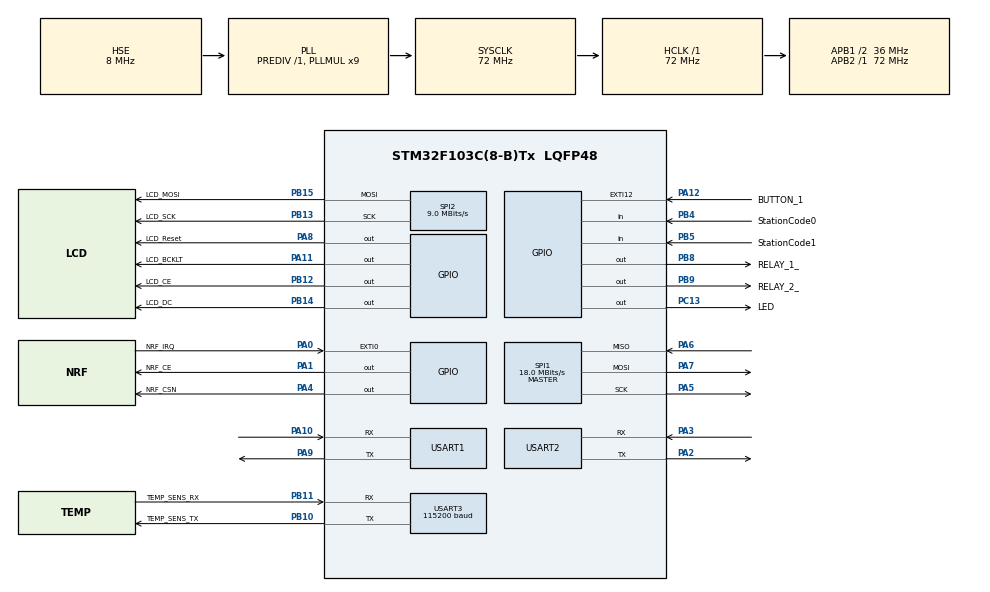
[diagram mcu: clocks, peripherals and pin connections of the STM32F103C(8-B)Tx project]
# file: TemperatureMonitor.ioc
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Dma.Request0=USART1_TX
Dma.Request1=USART2_TX
Dma.Request2=SPI2_TX
Dma.SPI2_TX.2.Direction=DMA_MEMORY_TO_PERIPH
Dma.SPI2_TX.2.Instance=DMA1_Channel5
Dma.SPI2_TX.2.MemDataAlignment=DMA_MDATAALIGN_BYTE
Dma.SPI2_TX.2.MemInc=DMA_MINC_ENABLE
Dma.SPI2_TX.2.Mode=DMA_NORMAL
Dma.SPI2_TX.2.PeriphDataAlignment=DMA_PDATAALIGN_BYTE
Dma.SPI2_TX.2.PeriphInc=DMA_PINC_DISABLE
Dma.SPI2_TX.2.Priority=DMA_PRIORITY_LOW
Dma.USART1_TX.0.Direction=DMA_MEMORY_TO_PERIPH
Dma.USART1_TX.0.Instance=DMA1_Channel4
Dma.USART1_TX.0.MemDataAlignment=DMA_MDATAALIGN_BYTE
Dma.USART1_TX.0.MemInc=DMA_MINC_ENABLE
Dma.USART1_TX.0.Mode=DMA_NORMAL
Dma.USART1_TX.0.PeriphDataAlignment=DMA_PDATAALIGN_BYTE
Dma.USART1_TX.0.PeriphInc=DMA_PINC_DISABLE
Dma.USART1_TX.0.Priority=DMA_PRIORITY_LOW
Dma.USART2_TX.1.Direction=DMA_MEMORY_TO_PERIPH
Dma.USART2_TX.1.Instance=DMA1_Channel7
Dma.USART2_TX.1.MemDataAlignment=DMA_MDATAALIGN_BYTE
Dma.USART2_TX.1.MemInc=DMA_MINC_ENABLE
Dma.USART2_TX.1.Mode=DMA_NORMAL
Dma.USART2_TX.1.PeriphDataAlignment=DMA_PDATAALIGN_BYTE
Dma.USART2_TX.1.PeriphInc=DMA_PINC_DISABLE
Dma.USART2_TX.1.Priority=DMA_PRIORITY_LOW
Mcu.Family=STM32F1
Mcu.Name=STM32F103C(8-B)Tx
Mcu.Package=LQFP48
NVIC.DMA1_Channel4_IRQn=true\:5\:0\:false\:false\:true\:true\:false
NVIC.DMA1_Channel5_IRQn=true\:5\:0\:false\:false\:true\:true\:false
NVIC.DMA1_Channel7_IRQn=true\:5\:0\:false\:false\:true\:true\:false
NVIC.EXTI0_IRQn=true\:5\:0\:false\:false\:true\:true\:true
NVIC.EXTI15_10_IRQn=true\:5\:0\:false\:false\:true\:true\:true
NVIC.PriorityGroup=NVIC_PRIORITYGROUP_4
NVIC.TIM1_UP_IRQn=true\:0\:0\:false\:false\:true\:false\:false
NVIC.TimeBase=TIM1_UP_IRQn
NVIC.TimeBaseIP=TIM1
NVIC.USART1_IRQn=true\:5\:0\:false\:false\:true\:true\:true
NVIC.USART2_IRQn=true\:5\:0\:false\:false\:true\:true\:true
PA0-WKUP.GPIO_Label=NRF_IRQ
PA0-WKUP.GPIO_ModeDefaultEXTI=GPIO_MODE_IT_FALLING
PA0-WKUP.GPIO_PuPd=GPIO_NOPULL
PA0-WKUP.Signal=GPXTI0
PA1.GPIO_Label=NRF_CE
PA1.Signal=GPIO_Output
PA10.Mode=Asynchronous
PA10.Signal=USART1_RX
PA11.GPIO_Label=LCD_BCKLT
PA11.Signal=GPIO_Output
PA12.GPIO_Label=BUTTON_1
PA12.GPIO_ModeDefaultEXTI=GPIO_MODE_IT_RISING
PA12.GPIO_PuPd=GPIO_PULLUP
PA12.Signal=GPXTI12
PA13.Mode=Serial_Wire
PA13.Signal=SYS_JTMS-SWDIO
PA14.Mode=Serial_Wire
PA14.Signal=SYS_JTCK-SWCLK
PA2.Mode=Asynchronous
PA2.Signal=USART2_TX
PA3.Mode=Asynchronous
PA3.Signal=USART2_RX
PA4.GPIO_Label=NRF_CSN
PA4.Signal=GPIO_Output
PA5.Mode=Full_Duplex_Master
PA5.Signal=SPI1_SCK
PA6.Mode=Full_Duplex_Master
PA6.Signal=SPI1_MISO
PA7.Mode=Full_Duplex_Master
PA7.Signal=SPI1_MOSI
PA8.GPIO_Label=LCD_Reset
PA8.Signal=GPIO_Output
PA9.Mode=Asynchronous
PA9.Signal=USART1_TX
PB10.GPIO_Label=TEMP_SENS_TX
PB10.Mode=Asynchronous
PB10.Signal=USART3_TX
PB11.GPIO_Label=TEMP_SENS_RX
PB11.Mode=Asynchronous
PB11.Signal=USART3_RX
PB12.GPIO_Label=LCD_CE
PB12.Signal=GPIO_Output
PB13.GPIO_Label=LCD_SCK
PB13.Mode=TX_Only_Simplex_Unidirect_Master
PB13.Signal=SPI2_SCK
PB14.GPIO_Label=LCD_DC
PB14.Signal=GPIO_Output
PB15.GPIO_Label=LCD_MOSI
PB15.Mode=TX_Only_Simplex_Unidirect_Master
PB15.Signal=SPI2_MOSI
PB4.GPIO_Label=StationCode0
PB4.GPIO_PuPd=GPIO_PULLUP
PB4.Signal=GPIO_Input
PB5.GPIO_Label=StationCode1
PB5.GPIO_PuPd=GPIO_PULLUP
PB5.Signal=GPIO_Input
PB8.GPIO_Label=RELAY_1_
PB8.Signal=GPIO_Output
PB9.GPIO_Label=RELAY_2_
PB9.Signal=GPIO_Output
PC13-TAMPER-RTC.GPIO_Label=LED
PC13-TAMPER-RTC.Signal=GPIO_Output
PC14-OSC32_IN.Mode=LSE-External-Oscillator
PC14-OSC32_IN.Signal=RCC_OSC32_IN
PC15-OSC32_OUT.Mode=LSE-External-Oscillator
PC15-OSC32_OUT.Signal=RCC_OSC32_OUT
PD0-OSC_IN.Mode=HSE-External-Oscillator
PD0-OSC_IN.Signal=RCC_OSC_IN
PD1-OSC_OUT.Mode=HSE-External-Oscillator
PD1-OSC_OUT.Signal=RCC_OSC_OUT
ProjectManager.HeapSize=0x200
ProjectManager.StackSize=0x400
ProjectManager.TargetToolchain=SW4STM32
RCC.AHBFreq_Value=72000000
RCC.APB1CLKDivider=RCC_HCLK_DIV2
RCC.APB1Freq_Value=36000000
RCC.APB1TimFreq_Value=72000000
RCC.APB2Freq_Value=72000000
RCC.APB2TimFreq_Value=72000000
RCC.HCLKFreq_Value=72000000
RCC.PLLMUL=RCC_PLL_MUL9
RCC.PLLSourceVirtual=RCC_PLLSOURCE_HSE
RCC.SYSCLKFreq_VALUE=72000000
RCC.SYSCLKSource=RCC_SYSCLKSOURCE_PLLCLK
RCC.USBFreq_Value=72000000
SPI1.BaudRatePrescaler=SPI_BAUDRATEPRESCALER_4
SPI1.CalculateBaudRate=18.0 MBits/s
SPI1.Direction=SPI_DIRECTION_2LINES
SPI1.Mode=SPI_MODE_MASTER
SPI1.VirtualType=VM_MASTER
SPI2.BaudRatePrescaler=SPI_BAUDRATEPRESCALER_4
SPI2.CalculateBaudRate=9.0 MBits/s
SPI2.Direction=SPI_DIRECTION_2LINES
SPI2.Mode=SPI_MODE_MASTER
SPI2.VirtualType=VM_MASTER
USART1.Parity=PARITY_NONE
USART1.VirtualMode=VM_ASYNC
USART2.VirtualMode=VM_ASYNC
USART3.BaudRate=115200
USART3.VirtualMode=VM_ASYNC
VP_SYS_VS_tim1.Mode=TIM1
board=custom

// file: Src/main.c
/**
  ******************************************************************************
  * @file           : main.c
  * @brief          : Main program body
  ******************************************************************************
  * This notice applies to any and all portions of this file
  * that are not between comment pairs USER CODE BEGIN and
  * USER CODE END. Other portions of this file, whether
  * inserted by the user or by software development tools
  * are owned by their respective copyright owners.
  *
  * Copyright (c) 2019 STMicroelectronics International N.V.
  * All rights reserved.
  *
  * Redistribution and use in source and binary forms, with or without
  * modification, are permitted, provided that the following conditions are met:
  *
  * 1. Redistribution of source code must retain the above copyright notice,
  *    this list of conditions and the following disclaimer.
  * 2. Redistributions in binary form must reproduce the above copyright notice,
  *    this list of conditions and the following disclaimer in the documentation
  *    and/or other materials provided with the distribution.
  * 3. Neither the name of STMicroelectronics nor the names of other
  *    contributors to this software may be used to endorse or promote products
  *    derived from this software without specific written permission.
  * 4. This software, including modifications and/or derivative works of this
  *    software, must execute solely and exclusively on microcontroller or
  *    microprocessor devices manufactured by or for STMicroelectronics.
  * 5. Redistribution and use of this software other than as permitted under
  *    this license is void and will automatically terminate your rights under
  *    this license.
  *
  * THIS SOFTWARE IS PROVIDED BY STMICROELECTRONICS AND CONTRIBUTORS "AS IS"
  * AND ANY EXPRESS, IMPLIED OR STATUTORY WARRANTIES, INCLUDING, BUT NOT
  * LIMITED TO, THE IMPLIED WARRANTIES OF MERCHANTABILITY, FITNESS FOR A
  * PARTICULAR PURPOSE AND NON-INFRINGEMENT OF THIRD PARTY INTELLECTUAL PROPERTY
  * RIGHTS ARE DISCLAIMED TO THE FULLEST EXTENT PERMITTED BY LAW. IN NO EVENT
  * SHALL STMICROELECTRONICS OR CONTRIBUTORS BE LIABLE FOR ANY DIRECT, INDIRECT,
  * INCIDENTAL, SPECIAL, EXEMPLARY, OR CONSEQUENTIAL DAMAGES (INCLUDING, BUT NOT
  * LIMITED TO, PROCUREMENT OF SUBSTITUTE GOODS OR SERVICES; LOSS OF USE, DATA,
  * OR PROFITS; OR BUSINESS INTERRUPTION) HOWEVER CAUSED AND ON ANY THEORY OF
  * LIABILITY, WHETHER IN CONTRACT, STRICT LIABILITY, OR TORT (INCLUDING
  * NEGLIGENCE OR OTHERWISE) ARISING IN ANY WAY OUT OF THE USE OF THIS SOFTWARE,
  * EVEN IF ADVISED OF THE POSSIBILITY OF SUCH DAMAGE.
  *
  ******************************************************************************
  */
#include "main.h"
#include "stm32f1xx_hal.h"
#include "cmsis_os.h"

/* USER CODE BEGIN Includes */

#include "../Framework/Instances/Common.h"
#include "../Framework/System/uart_printf.h"
#include "../Framework/Tasks/MasterSerialTask.h"
#include "../Application/RadioLink/nRF24L01_Basis.h"

/* USER CODE END Includes */

SPI_HandleTypeDef hspi1;
SPI_HandleTypeDef hspi2;
DMA_HandleTypeDef hdma_spi2_tx;

UART_HandleTypeDef huart1;
UART_HandleTypeDef huart2;
UART_HandleTypeDef huart3;
DMA_HandleTypeDef hdma_usart1_tx;
DMA_HandleTypeDef hdma_usart2_tx;

osThreadId measureTskHandle;
uint32_t measureTskBuffer[ 128 ];
osStaticThreadDef_t measureTskControlBlock;
osThreadId nRF24TskHandle;
uint32_t nRF24TskBuffer[ 128 ];
osStaticThreadDef_t nRF24TskControlBlock;
osThreadId displayTaskHandle;
uint32_t displayTaskBuffer[ 128 ];
osStaticThreadDef_t displayTaskControlBlock;

/* USER CODE BEGIN PV */
/* Private variables ---------------------------------------------------------*/

osThreadId masterSerialTaskHandle;

/* USER CODE END PV */

void SystemClock_Config(void);
static void MX_GPIO_Init(void);
static void MX_DMA_Init(void);
static void MX_USART1_UART_Init(void);
static void MX_SPI1_Init(void);
static void MX_SPI2_Init(void);
static void MX_USART3_UART_Init(void);
static void MX_USART2_UART_Init(void);
void startMeasureTsk(void const * argument);
extern void StartnRF24Tsk(void const * argument);
extern void StartDisplayTask(void const * argument);

/* USER CODE BEGIN PFP */
/* Private function prototypes -----------------------------------------------*/

osThreadId* 		get_MeasureTask(void)		{ return &measureTskHandle;  }
osThreadId* 		get_nRF24Task(void)			{ return &nRF24TskHandle;	 }
osThreadId* 		get_DisplayTask(void)		{ return &displayTaskHandle; }
SPI_HandleTypeDef*  get_nRF24_SPI(void)			{ return &hspi1; 			 }
SPI_HandleTypeDef*  get_LCD_SPI(void)			{ return &hspi2;			 }
UART_HandleTypeDef* get_huart1(void)			{ return &huart1; 			 }
UART_HandleTypeDef* get_huart2(void)			{ return &huart2; 			 }
UART_HandleTypeDef* get_huart3(void)			{ return &huart3; 			 }
//DMA_HandleTypeDef*  get_hdma_usart3_rx(void)	{ return &hdma_usart3_rx;	 }

extern void StartMasterSerialTask(void const * argument);

/* USER CODE END PFP */

int main(void)
{

  /* MCU Configuration----------------------------------------------------------*/

  /* Reset of all peripherals, Initializes the Flash interface and the Systick. */
  HAL_Init();

  /* Configure the system clock */
  SystemClock_Config();

  /* Initialize all configured peripherals */
  MX_GPIO_Init();
  MX_DMA_Init();
  MX_USART1_UART_Init();
  MX_SPI1_Init();
  MX_SPI2_Init();
  MX_USART3_UART_Init();
  MX_USART2_UART_Init();

  /* Create the thread(s) */
  /* definition and creation of measureTsk */
  osThreadStaticDef(measureTsk, startMeasureTsk, osPriorityAboveNormal, 0, 128, measureTskBuffer, &measureTskControlBlock);
  measureTskHandle = osThreadCreate(osThread(measureTsk), NULL);

  /* definition and creation of nRF24Tsk */
  osThreadStaticDef(nRF24Tsk, StartnRF24Tsk, osPriorityNormal, 0, 128, nRF24TskBuffer, &nRF24TskControlBlock);
  nRF24TskHandle = osThreadCreate(osThread(nRF24Tsk), NULL);

  /* definition and creation of displayTask */
  osThreadStaticDef(displayTask, StartDisplayTask, osPriorityLow, 0, 128, displayTaskBuffer, &displayTaskControlBlock);
  displayTaskHandle = osThreadCreate(osThread(displayTask), NULL);

  /* USER CODE BEGIN RTOS_THREADS */
  /* add threads, ... */

  //osThreadId masterSerialTasHandle;

  /* USER CODE END RTOS_THREADS */

  /* USER CODE BEGIN RTOS_QUEUES */
  /* add queues, ... */

  common_init();
  HAL_GPIO_WritePin(RELAY_1__GPIO_Port, RELAY_1__Pin, GPIO_PIN_SET);
  HAL_GPIO_WritePin(RELAY_2__GPIO_Port, RELAY_2__Pin, GPIO_PIN_SET);

  // definition and creation of masterSerialTask, sends data to linux-host
  if (stationType_isMaster())
  {
	  osThreadDef(masterSerialTask, StartMasterSerialTask, osPriorityLow, 0, 128);
	  masterSerialTaskHandle = osThreadCreate(osThread(masterSerialTask), NULL);
  }

  /* USER CODE END RTOS_QUEUES */

  /* Start scheduler */
  osKernelStart();

  /* We should never get here as control is now taken by the scheduler */

  /* Infinite loop */
  /* USER CODE BEGIN WHILE */
  while (1)
  {
	  //HAL_GPIO_TogglePin(LED_GPIO_Port, LED_Pin);
	  //HAL_Delay(100);
	 // lw_main();

  /* USER CODE END WHILE */

  }

}

void SystemClock_Config(void)
{

  RCC_OscInitTypeDef RCC_OscInitStruct;
  RCC_ClkInitTypeDef RCC_ClkInitStruct;

    /**Initializes the CPU, AHB and APB busses clocks
    */
  RCC_OscInitStruct.OscillatorType = RCC_OSCILLATORTYPE_HSE;
  RCC_OscInitStruct.HSEState = RCC_HSE_ON;
  RCC_OscInitStruct.HSEPredivValue = RCC_HSE_PREDIV_DIV1;
  RCC_OscInitStruct.HSIState = RCC_HSI_ON;
  RCC_OscInitStruct.PLL.PLLState = RCC_PLL_ON;
  RCC_OscInitStruct.PLL.PLLSource = RCC_PLLSOURCE_HSE;
  RCC_OscInitStruct.PLL.PLLMUL = RCC_PLL_MUL9;
  if (HAL_RCC_OscConfig(&RCC_OscInitStruct) != HAL_OK)
  {
    _Error_Handler(__FILE__, __LINE__);
  }

    /**Initializes the CPU, AHB and APB busses clocks
    */
  RCC_ClkInitStruct.ClockType = RCC_CLOCKTYPE_HCLK|RCC_CLOCKTYPE_SYSCLK
                              |RCC_CLOCKTYPE_PCLK1|RCC_CLOCKTYPE_PCLK2;
  RCC_ClkInitStruct.SYSCLKSource = RCC_SYSCLKSOURCE_PLLCLK;
  RCC_ClkInitStruct.AHBCLKDivider = RCC_SYSCLK_DIV1;
  RCC_ClkInitStruct.APB1CLKDivider = RCC_HCLK_DIV2;
  RCC_ClkInitStruct.APB2CLKDivider = RCC_HCLK_DIV1;

  if (HAL_RCC_ClockConfig(&RCC_ClkInitStruct, FLASH_LATENCY_2) != HAL_OK)
  {
    _Error_Handler(__FILE__, __LINE__);
  }

    /**Configure the Systick interrupt time
    */
  HAL_SYSTICK_Config(HAL_RCC_GetHCLKFreq()/1000);

    /**Configure the Systick
    */
  HAL_SYSTICK_CLKSourceConfig(SYSTICK_CLKSOURCE_HCLK);

  /* SysTick_IRQn interrupt configuration */
  HAL_NVIC_SetPriority(SysTick_IRQn, 15, 0);
}

/* SPI1 init function */
static void MX_SPI1_Init(void)
{

  /* SPI1 parameter configuration*/
  hspi1.Instance = SPI1;
  hspi1.Init.Mode = SPI_MODE_MASTER;
  hspi1.Init.Direction = SPI_DIRECTION_2LINES;
  hspi1.Init.DataSize = SPI_DATASIZE_8BIT;
  hspi1.Init.CLKPolarity = SPI_POLARITY_LOW;
  hspi1.Init.CLKPhase = SPI_PHASE_1EDGE;
  hspi1.Init.NSS = SPI_NSS_SOFT;
  hspi1.Init.BaudRatePrescaler = SPI_BAUDRATEPRESCALER_4;
  hspi1.Init.FirstBit = SPI_FIRSTBIT_MSB;
  hspi1.Init.TIMode = SPI_TIMODE_DISABLE;
  hspi1.Init.CRCCalculation = SPI_CRCCALCULATION_DISABLE;
  hspi1.Init.CRCPolynomial = 10;
  if (HAL_SPI_Init(&hspi1) != HAL_OK)
  {
    _Error_Handler(__FILE__, __LINE__);
  }

}

/* SPI2 init function */
static void MX_SPI2_Init(void)
{

  /* SPI2 parameter configuration*/
  hspi2.Instance = SPI2;
  hspi2.Init.Mode = SPI_MODE_MASTER;
  hspi2.Init.Direction = SPI_DIRECTION_2LINES;
  hspi2.Init.DataSize = SPI_DATASIZE_8BIT;
  hspi2.Init.CLKPolarity = SPI_POLARITY_LOW;
  hspi2.Init.CLKPhase = SPI_PHASE_1EDGE;
  hspi2.Init.NSS = SPI_NSS_SOFT;
  hspi2.Init.BaudRatePrescaler = SPI_BAUDRATEPRESCALER_4;
  hspi2.Init.FirstBit = SPI_FIRSTBIT_MSB;
  hspi2.Init.TIMode = SPI_TIMODE_DISABLE;
  hspi2.Init.CRCCalculation = SPI_CRCCALCULATION_DISABLE;
  hspi2.Init.CRCPolynomial = 10;
  if (HAL_SPI_Init(&hspi2) != HAL_OK)
  {
    _Error_Handler(__FILE__, __LINE__);
  }

}

/* USART1 init function */
static void MX_USART1_UART_Init(void)
{

  huart1.Instance = USART1;
  huart1.Init.BaudRate = 115200;
  huart1.Init.WordLength = UART_WORDLENGTH_8B;
  huart1.Init.StopBits = UART_STOPBITS_1;
  huart1.Init.Parity = UART_PARITY_NONE;
  huart1.Init.Mode = UART_MODE_TX_RX;
  huart1.Init.HwFlowCtl = UART_HWCONTROL_NONE;
  huart1.Init.OverSampling = UART_OVERSAMPLING_16;
  if (HAL_UART_Init(&huart1) != HAL_OK)
  {
    _Error_Handler(__FILE__, __LINE__);
  }

}

/* USART2 init function */
static void MX_USART2_UART_Init(void)
{

  huart2.Instance = USART2;
  huart2.Init.BaudRate = 115200;
  huart2.Init.WordLength = UART_WORDLENGTH_8B;
  huart2.Init.StopBits = UART_STOPBITS_1;
  huart2.Init.Parity = UART_PARITY_NONE;
  huart2.Init.Mode = UART_MODE_TX_RX;
  huart2.Init.HwFlowCtl = UART_HWCONTROL_NONE;
  huart2.Init.OverSampling = UART_OVERSAMPLING_16;
  if (HAL_UART_Init(&huart2) != HAL_OK)
  {
    _Error_Handler(__FILE__, __LINE__);
  }

}

/* USART3 init function */
static void MX_USART3_UART_Init(void)
{

  huart3.Instance = USART3;
  huart3.Init.BaudRate = 115200;
  huart3.Init.WordLength = UART_WORDLENGTH_8B;
  huart3.Init.StopBits = UART_STOPBITS_1;
  huart3.Init.Parity = UART_PARITY_NONE;
  huart3.Init.Mode = UART_MODE_TX_RX;
  huart3.Init.HwFlowCtl = UART_HWCONTROL_NONE;
  huart3.Init.OverSampling = UART_OVERSAMPLING_16;
  if (HAL_UART_Init(&huart3) != HAL_OK)
  {
    _Error_Handler(__FILE__, __LINE__);
  }

}

static void MX_DMA_Init(void)
{
  /* DMA controller clock enable */
  __HAL_RCC_DMA1_CLK_ENABLE();

  /* DMA interrupt init */
  /* DMA1_Channel4_IRQn interrupt configuration */
  HAL_NVIC_SetPriority(DMA1_Channel4_IRQn, 5, 0);
  HAL_NVIC_EnableIRQ(DMA1_Channel4_IRQn);
  /* DMA1_Channel5_IRQn interrupt configuration */
  HAL_NVIC_SetPriority(DMA1_Channel5_IRQn, 5, 0);
  HAL_NVIC_EnableIRQ(DMA1_Channel5_IRQn);
  /* DMA1_Channel7_IRQn interrupt configuration */
  HAL_NVIC_SetPriority(DMA1_Channel7_IRQn, 5, 0);
  HAL_NVIC_EnableIRQ(DMA1_Channel7_IRQn);

}

/** Configure pins as
        * Analog
        * Input
        * Output
        * EVENT_OUT
        * EXTI
*/
static void MX_GPIO_Init(void)
{

  GPIO_InitTypeDef GPIO_InitStruct;

  /* GPIO Ports Clock Enable */
  __HAL_RCC_GPIOC_CLK_ENABLE();
  __HAL_RCC_GPIOD_CLK_ENABLE();
  __HAL_RCC_GPIOA_CLK_ENABLE();
  __HAL_RCC_GPIOB_CLK_ENABLE();

  /*Configure GPIO pin Output Level */
  HAL_GPIO_WritePin(LED_GPIO_Port, LED_Pin, GPIO_PIN_RESET);

  /*Configure GPIO pin Output Level */
  HAL_GPIO_WritePin(GPIOA, NRF_CE_Pin|NRF_CSN_Pin|LCD_Reset_Pin|LCD_BCKLT_Pin, GPIO_PIN_RESET);

  /*Configure GPIO pin Output Level */
  HAL_GPIO_WritePin(GPIOB, LCD_CE_Pin|LCD_DC_Pin|RELAY_1__Pin|RELAY_2__Pin, GPIO_PIN_RESET);

  /*Configure GPIO pin : LED_Pin */
  GPIO_InitStruct.Pin = LED_Pin;
  GPIO_InitStruct.Mode = GPIO_MODE_OUTPUT_PP;
  GPIO_InitStruct.Pull = GPIO_NOPULL;
  GPIO_InitStruct.Speed = GPIO_SPEED_FREQ_LOW;
  HAL_GPIO_Init(LED_GPIO_Port, &GPIO_InitStruct);

  /*Configure GPIO pin : NRF_IRQ_Pin */
  GPIO_InitStruct.Pin = NRF_IRQ_Pin;
  GPIO_InitStruct.Mode = GPIO_MODE_IT_FALLING;
  GPIO_InitStruct.Pull = GPIO_NOPULL;
  HAL_GPIO_Init(NRF_IRQ_GPIO_Port, &GPIO_InitStruct);

  /*Configure GPIO pins : NRF_CE_Pin NRF_CSN_Pin LCD_Reset_Pin LCD_BCKLT_Pin */
  GPIO_InitStruct.Pin = NRF_CE_Pin|NRF_CSN_Pin|LCD_Reset_Pin|LCD_BCKLT_Pin;
  GPIO_InitStruct.Mode = GPIO_MODE_OUTPUT_PP;
  GPIO_InitStruct.Pull = GPIO_NOPULL;
  GPIO_InitStruct.Speed = GPIO_SPEED_FREQ_LOW;
  HAL_GPIO_Init(GPIOA, &GPIO_InitStruct);

  /*Configure GPIO pins : LCD_CE_Pin LCD_DC_Pin RELAY_1__Pin RELAY_2__Pin */
  GPIO_InitStruct.Pin = LCD_CE_Pin|LCD_DC_Pin|RELAY_1__Pin|RELAY_2__Pin;
  GPIO_InitStruct.Mode = GPIO_MODE_OUTPUT_PP;
  GPIO_InitStruct.Pull = GPIO_NOPULL;
  GPIO_InitStruct.Speed = GPIO_SPEED_FREQ_LOW;
  HAL_GPIO_Init(GPIOB, &GPIO_InitStruct);

  /*Configure GPIO pin : BUTTON_1_Pin */
  GPIO_InitStruct.Pin = BUTTON_1_Pin;
  GPIO_InitStruct.Mode = GPIO_MODE_IT_RISING;
  GPIO_InitStruct.Pull = GPIO_PULLUP;
  HAL_GPIO_Init(BUTTON_1_GPIO_Port, &GPIO_InitStruct);

  /*Configure GPIO pins : StationCode0_Pin StationCode1_Pin */
  GPIO_InitStruct.Pin = StationCode0_Pin|StationCode1_Pin;
  GPIO_InitStruct.Mode = GPIO_MODE_INPUT;
  GPIO_InitStruct.Pull = GPIO_PULLUP;
  HAL_GPIO_Init(GPIOB, &GPIO_InitStruct);

  /* EXTI interrupt init*/
  HAL_NVIC_SetPriority(EXTI0_IRQn, 5, 0);
  HAL_NVIC_EnableIRQ(EXTI0_IRQn);

  HAL_NVIC_SetPriority(EXTI15_10_IRQn, 5, 0);
  HAL_NVIC_EnableIRQ(EXTI15_10_IRQn);

}

__weak void startMeasureTsk(void const * argument)
{

  for(;;)
  {
    osDelay(1);
  }
}

void HAL_TIM_PeriodElapsedCallback(TIM_HandleTypeDef *htim)
{
  if (htim->Instance == TIM1) {
    HAL_IncTick();
  }
}

void _Error_Handler(char *file, int line)
{
  /* USER CODE BEGIN Error_Handler_Debug */
	tx_printf("ERROR HANDLER: Exception in %s / line %i", file, line);
  /* User can add his own implementation to report the HAL error return state */
  while(1)
  {
  }
  /* USER CODE END Error_Handler_Debug */
}

/************************ (C) COPYRIGHT STMicroelectronics *****END OF FILE****/
